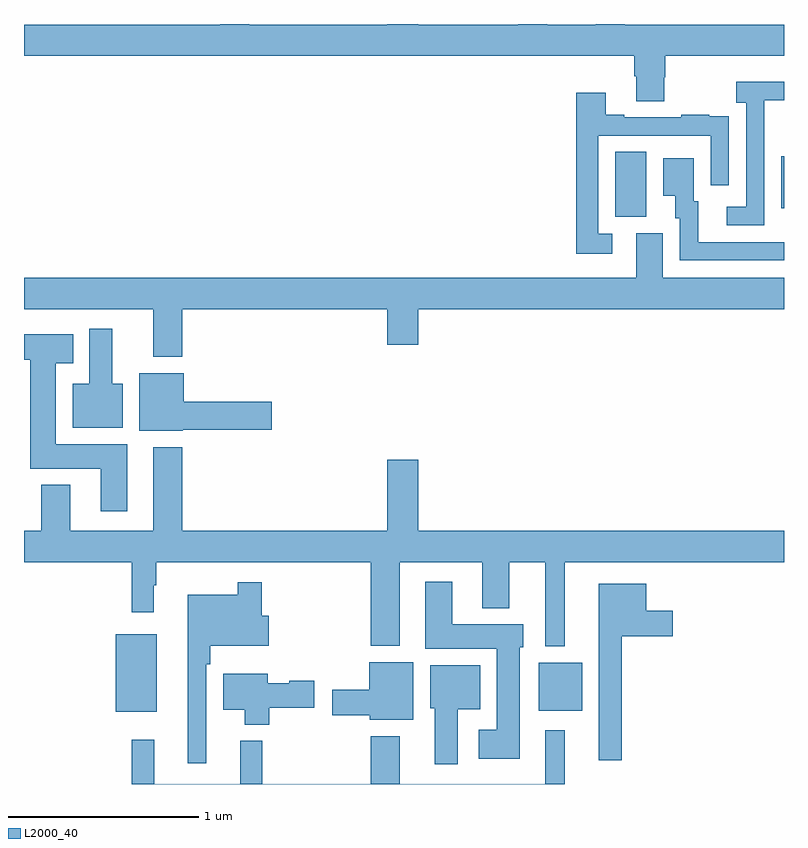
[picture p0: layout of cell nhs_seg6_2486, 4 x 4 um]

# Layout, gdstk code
import gdstk
lib = gdstk.Library(unit=1e-6, precision=1e-09)
def R(c, l, rs):  # rectangles x0, y0, x1, y1
    for r in rs: c.add(gdstk.rectangle(r[:2], r[2:], *l))
def P(c, l, *ps):  # polygons
    for p in ps: c.add(gdstk.Polygon(p, *l))
L2000_40 = (2000, 40)

nhs_seg6_2486 = lib.new_cell('nhs_seg6_2486')
R(nhs_seg6_2486, L2000_40, [(259.484,947.879,259.699,948.289), (261.71,947.885,261.937,948.139), (262.112,950.485,262.276,950.828), (262.985,950.529,263,950.803)])
P(nhs_seg6_2486, L2000_40, [(262.371,951.219),(262.376,951.219),(262.376,951.332),(263,951.332),(263,951.496),(262.163,951.496),(262.163,951.5),(262.01,951.5),(262.01,951.496),(261.754,951.496),(261.754,951.5),(261.602,951.5),(261.602,951.496),(261.076,951.496),(261.076,951.5),(260.912,951.5),(260.912,951.496),(260.186,951.496),(260.186,951.5),(260.034,951.5),(260.034,951.496),(259,951.496),(259,951.332),(262.211,951.332),(262.211,951.226),(262.223,951.226),(262.223,951.094),(262.371,951.094)],
  [(262.896,950.899),(262.897,950.899),(262.897,951.099),(263,951.099),(263,951.196),(262.749,951.196),(262.749,951.086),(262.8,951.086),(262.8,950.538),(262.698,950.538),(262.698,950.442),(262.896,950.442)],
  [(262.096,950.397),(262.023,950.397),(262.023,950.913),(262.614,950.913),(262.614,950.652),(262.71,950.652),(262.71,950.906),(262.709,950.906),(262.709,951.015),(262.607,951.015),(262.607,951.022),(262.459,951.022),(262.459,951.009),(262.159,951.009),(262.159,951.022),(262.063,951.022),(262.063,951.139),(261.907,951.139),(261.907,950.292),(262.096,950.292)],
  [(263,950.352),(262.549,950.352),(262.549,950.568),(262.525,950.568),(262.525,950.794),(262.364,950.794),(262.364,950.597),(262.427,950.597),(262.427,950.478),(262.452,950.478),(262.452,950.256),(263,950.256)],
  [(259.832,950),(260.912,950),(260.912,949.812),(261.076,949.812),(261.076,950),(263,950),(263,950.164),(262.363,950.164),(262.363,950.4),(262.223,950.4),(262.223,950.164),(259,950.164),(259,950),(259.679,950),(259.679,949.748),(259.832,949.748)],
  [(259.519,949.606),(259.465,949.606),(259.465,949.897),(259.343,949.897),(259.343,949.606),(259.256,949.606),(259.256,949.376),(259.519,949.376)],
  [(259.543,949.288),(259.168,949.288),(259.168,949.715),(259.258,949.715),(259.258,949.867),(259,949.867),(259,949.733),(259.034,949.733),(259.034,949.16),(259.403,949.16),(259.403,948.936),(259.543,948.936)],
  [(259.836,949.364),(260.305,949.364),(260.305,949.511),(259.84,949.511),(259.84,949.663),(259.607,949.663),(259.607,949.358),(259.836,949.358)],
  [(261.847,948.668),(263,948.668),(263,948.832),(261.076,948.832),(261.076,949.207),(260.912,949.207),(260.912,948.832),(259.832,948.832),(259.832,949.273),(259.679,949.273),(259.679,948.832),(259.243,948.832),(259.243,949.075),(259.091,949.075),(259.091,948.832),(259,948.832),(259,948.668),(259.567,948.668),(259.567,948.405),(259.684,948.405),(259.684,948.545),(259.696,948.545),(259.696,948.668),(260.825,948.668),(260.825,948.227),(260.977,948.227),(260.977,948.668),(261.413,948.668),(261.413,948.425),(261.553,948.425),(261.553,948.668),(261.743,948.668),(261.743,948.224),(261.847,948.224)],
  [(261.61,948.219),(261.628,948.219),(261.628,948.34),(261.253,948.34),(261.253,948.565),(261.113,948.565),(261.113,948.212),(261.488,948.212),(261.488,947.785),(261.393,947.785),(261.393,947.633),(261.61,947.633)],
  [(259.959,948.131),(259.979,948.131),(259.979,948.227),(260.287,948.227),(260.287,948.385),(260.252,948.385),(260.252,948.562),(260.124,948.562),(260.124,948.496),(259.862,948.496),(259.862,947.61),(259.959,947.61)],
  [(262.147,948.278),(262.414,948.278),(262.414,948.412),(262.276,948.412),(262.276,948.553),(262.025,948.553),(262.025,947.625),(262.147,947.625)],
  [(261.049,948.142),(260.816,948.142),(260.816,947.996),(260.622,947.996),(260.622,947.861),(260.82,947.861),(260.82,947.837),(261.049,947.837)],
  [(261.283,947.894),(261.4,947.894),(261.4,948.124),(261.137,948.124),(261.137,947.898),(261.161,947.898),(261.161,947.604),(261.283,947.604)],
  [(260.291,947.902),(260.527,947.902),(260.527,948.044),(260.397,948.044),(260.397,948.031),(260.284,948.031),(260.284,948.079),(260.048,948.079),(260.048,947.891),(260.162,947.891),(260.162,947.813),(260.291,947.813)],
  [(259.567,947.5),(261.847,947.5),(261.847,947.782),(261.743,947.782),(261.743,947.5),(260.977,947.5),(260.977,947.752),(260.825,947.752),(260.825,947.5),(260.255,947.5),(260.255,947.728),(260.138,947.728),(260.138,947.5),(259.685,947.5),(259.685,947.734),(259.567,947.734)])

lib.write_gds('nhs_seg6_2486.gds')
